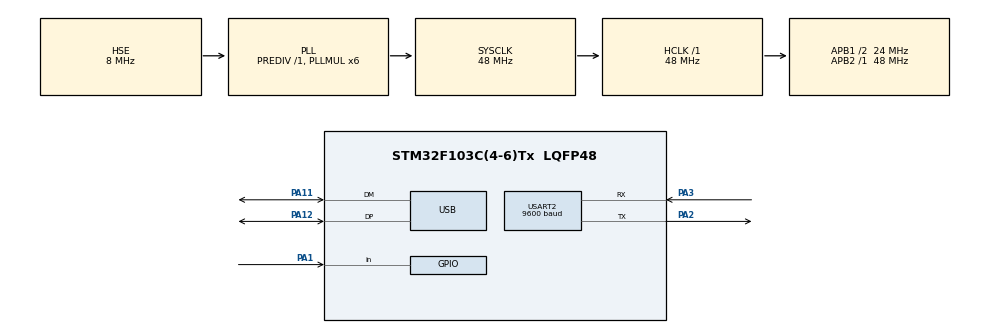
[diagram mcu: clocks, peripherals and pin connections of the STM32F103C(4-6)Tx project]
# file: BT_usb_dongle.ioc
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Mcu.Family=STM32F1
Mcu.Name=STM32F103C(4-6)Tx
Mcu.Package=LQFP48
NVIC.PriorityGroup=NVIC_PRIORITYGROUP_4
NVIC.USART2_IRQn=true\:0\:0\:false\:false\:true\:true\:true
NVIC.USB_LP_CAN1_RX0_IRQn=true\:0\:0\:false\:false\:true\:false\:true
PA1.GPIO_PuPd=GPIO_PULLDOWN
PA1.Signal=GPIO_Input
PA11.Mode=Device
PA11.Signal=USB_DM
PA12.Mode=Device
PA12.Signal=USB_DP
PA13.Mode=Serial_Wire
PA13.Signal=SYS_JTMS-SWDIO
PA14.Mode=Serial_Wire
PA14.Signal=SYS_JTCK-SWCLK
PA2.Mode=Asynchronous
PA2.Signal=USART2_TX
PA3.Mode=Asynchronous
PA3.Signal=USART2_RX
PD0-OSC_IN.Mode=HSE-External-Oscillator
PD0-OSC_IN.Signal=RCC_OSC_IN
PD1-OSC_OUT.Mode=HSE-External-Oscillator
PD1-OSC_OUT.Signal=RCC_OSC_OUT
ProjectManager.HeapSize=0x200
ProjectManager.StackSize=0x400
ProjectManager.TargetToolchain=STM32CubeIDE
RCC.AHBFreq_Value=48000000
RCC.APB1CLKDivider=RCC_HCLK_DIV2
RCC.APB1Freq_Value=24000000
RCC.APB1TimFreq_Value=48000000
RCC.APB2Freq_Value=48000000
RCC.APB2TimFreq_Value=48000000
RCC.HCLKFreq_Value=48000000
RCC.PLLMUL=RCC_PLL_MUL6
RCC.SYSCLKFreq_VALUE=48000000
RCC.SYSCLKSource=RCC_SYSCLKSOURCE_PLLCLK
RCC.USBFreq_Value=48000000
USART2.BaudRate=9600
USART2.VirtualMode=VM_ASYNC
USB_DEVICE.CLASS_NAME_FS=HID
USB_DEVICE.PRODUCT_STRING_HID_FS=STM32 BT dongle
USB_DEVICE.VirtualMode=Hid
USB_DEVICE.VirtualModeFS=Hid_FS
VP_USB_DEVICE_VS_USB_DEVICE_HID_FS.Mode=HID_FS
board=custom

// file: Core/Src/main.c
/* USER CODE BEGIN Header */
/**
  ******************************************************************************
  * @file           : main.c
  * @brief          : Main program body
  ******************************************************************************
  * @attention
  *
  * <h2><center>&copy; Copyright (c) 2022 STMicroelectronics.
  * All rights reserved.</center></h2>
  *
  * This software component is licensed by ST under BSD 3-Clause license,
  * the "License"; You may not use this file except in compliance with the
  * License. You may obtain a copy of the License at:
  *                        opensource.org/licenses/BSD-3-Clause
  *
  ******************************************************************************
  */
/* USER CODE END Header */
#include "main.h"
#include "usb_device.h"
#include "usbd_hid.h"

/* USER CODE BEGIN PD */
#define DIAG_LED_PORT	GPIOC
#define DIAG_LED_PIN	GPIO_PIN_13

#define	BT_STATE_PORT	GPIOA
#define BT_STATE_PIN	GPIO_PIN_1
/* USER CODE END PD */

/* USER CODE BEGIN PM */
struct mouse_report {
	uint8_t buttons;
	int8_t x_disp;
	int8_t y_disp;
	int8_t wheel;
};

/* USER CODE END PM */

UART_HandleTypeDef huart2;

/* USER CODE BEGIN PV */
struct mouse_report report;
/* USER CODE END PV */

void SystemClock_Config(void);
static void MX_GPIO_Init(void);
static void MX_USART2_UART_Init(void);
/* USER CODE BEGIN PFP */
extern USBD_HandleTypeDef hUsbDeviceFS;

/* USER CODE END PFP */

/* USER CODE BEGIN 0 */

static void led_init(void)
{
	GPIO_InitTypeDef GPIO_InitStruct;

	__HAL_RCC_GPIOC_CLK_ENABLE();
	HAL_GPIO_WritePin(DIAG_LED_PORT, DIAG_LED_PIN, GPIO_PIN_SET);
	GPIO_InitStruct.Pin = DIAG_LED_PIN;
	GPIO_InitStruct.Mode = GPIO_MODE_OUTPUT_PP;
	GPIO_InitStruct.Pull = GPIO_NOPULL;
	GPIO_InitStruct.Speed = GPIO_SPEED_FREQ_LOW;
	HAL_GPIO_Init(DIAG_LED_PORT, &GPIO_InitStruct);
}

static void bt_init(void)
{
	GPIO_InitTypeDef GPIO_InitStruct;

	__HAL_RCC_GPIOA_CLK_ENABLE();
	HAL_GPIO_WritePin(BT_STATE_PORT, BT_STATE_PIN, GPIO_PIN_RESET);
	GPIO_InitStruct.Pin = BT_STATE_PIN;
	GPIO_InitStruct.Mode = GPIO_MODE_INPUT;
	GPIO_InitStruct.Pull = GPIO_PULLDOWN;
	GPIO_InitStruct.Speed = GPIO_SPEED_FREQ_LOW;
	HAL_GPIO_Init(BT_STATE_PORT, &GPIO_InitStruct);
}

/* USER CODE END 0 */

int main(void)
{
  /* USER CODE BEGIN 1 */
  uint8_t *pdata;
  int deltax;
  int deltay;
  int deltaz;

  /* USER CODE END 1 */

  /* MCU Configuration--------------------------------------------------------*/

  /* Reset of all peripherals, Initializes the Flash interface and the Systick. */
  HAL_Init();

  /* USER CODE BEGIN Init */
  //AFIO_DBGAFR_CONFIG(AFIO_MAPR_SWJ_CFG_JTAGDISABLE);

  /* USER CODE END Init */

  /* Configure the system clock */
  SystemClock_Config();

  /* Initialize all configured peripherals */
  MX_GPIO_Init();
  MX_USART2_UART_Init();
  MX_USB_DEVICE_Init();
  /* USER CODE BEGIN 2 */
  bt_init();
  led_init();

  /* USER CODE END 2 */

  /* Infinite loop */
  /* USER CODE BEGIN WHILE */
  while (1)
  {
	  //uint8_t bt_data[] = "BT ready\r\n";
	  if (HAL_GPIO_ReadPin(BT_STATE_PORT, BT_STATE_PIN) == GPIO_PIN_SET)
	  {
		  HAL_Delay(2000);
		  //HAL_UART_Transmit(&huart2, bt_data, 9, HAL_MAX_DELAY);
		  break;
	  }
  }
  while(1)
  {
    /* USER CODE END WHILE */

    /* USER CODE BEGIN 3 */
	pdata = HAL_UART_Receive_gets(&huart2);
	if (pdata)
	{
#if 1
		if (sscanf((char *)pdata, "x:%d,y:%d,z:%d\r\n", &deltax, &deltay, &deltaz) == 3)
		{
			report.x_disp = deltax;
			report.y_disp = deltay;
			if (deltaz > 10)
				report.buttons = 1;
			USBD_HID_SendReport(&hUsbDeviceFS, (unsigned char *)&report, sizeof(struct mouse_report));
			if (report.buttons)
			{
				HAL_Delay(100);
				report.buttons = 0;
				USBD_HID_SendReport(&hUsbDeviceFS, (unsigned char *)&report, sizeof(struct mouse_report));
			}
		}
#endif
		HAL_UART_Free_Receive_buf(&huart2, pdata);
		HAL_GPIO_TogglePin(DIAG_LED_PORT, DIAG_LED_PIN);
	}
	//report.x_disp = 10;
	//report.y_disp = 10;--------------

  }
  /* USER CODE END 3 */
}

void SystemClock_Config(void)
{
  RCC_OscInitTypeDef RCC_OscInitStruct = {0};
  RCC_ClkInitTypeDef RCC_ClkInitStruct = {0};
  RCC_PeriphCLKInitTypeDef PeriphClkInit = {0};

  /** Initializes the RCC Oscillators according to the specified parameters
  * in the RCC_OscInitTypeDef structure.
  */
  RCC_OscInitStruct.OscillatorType = RCC_OSCILLATORTYPE_HSE;
  RCC_OscInitStruct.HSEState = RCC_HSE_ON;
  RCC_OscInitStruct.HSEPredivValue = RCC_HSE_PREDIV_DIV1;
  RCC_OscInitStruct.HSIState = RCC_HSI_ON;
  RCC_OscInitStruct.PLL.PLLState = RCC_PLL_ON;
  RCC_OscInitStruct.PLL.PLLSource = RCC_PLLSOURCE_HSE;
  RCC_OscInitStruct.PLL.PLLMUL = RCC_PLL_MUL6;
  if (HAL_RCC_OscConfig(&RCC_OscInitStruct) != HAL_OK)
  {
    Error_Handler();
  }
  /** Initializes the CPU, AHB and APB buses clocks
  */
  RCC_ClkInitStruct.ClockType = RCC_CLOCKTYPE_HCLK|RCC_CLOCKTYPE_SYSCLK
                              |RCC_CLOCKTYPE_PCLK1|RCC_CLOCKTYPE_PCLK2;
  RCC_ClkInitStruct.SYSCLKSource = RCC_SYSCLKSOURCE_PLLCLK;
  RCC_ClkInitStruct.AHBCLKDivider = RCC_SYSCLK_DIV1;
  RCC_ClkInitStruct.APB1CLKDivider = RCC_HCLK_DIV2;
  RCC_ClkInitStruct.APB2CLKDivider = RCC_HCLK_DIV1;

  if (HAL_RCC_ClockConfig(&RCC_ClkInitStruct, FLASH_LATENCY_1) != HAL_OK)
  {
    Error_Handler();
  }
  PeriphClkInit.PeriphClockSelection = RCC_PERIPHCLK_USB;
  PeriphClkInit.UsbClockSelection = RCC_USBCLKSOURCE_PLL;
  if (HAL_RCCEx_PeriphCLKConfig(&PeriphClkInit) != HAL_OK)
  {
    Error_Handler();
  }
}

static void MX_USART2_UART_Init(void)
{

  huart2.Instance = USART2;
  huart2.Init.BaudRate = 9600;
  huart2.Init.WordLength = UART_WORDLENGTH_8B;
  huart2.Init.StopBits = UART_STOPBITS_1;
  huart2.Init.Parity = UART_PARITY_NONE;
  huart2.Init.Mode = UART_MODE_TX_RX;
  huart2.Init.HwFlowCtl = UART_HWCONTROL_NONE;
  huart2.Init.OverSampling = UART_OVERSAMPLING_16;
  if (HAL_UART_Init(&huart2) != HAL_OK)
  {
    Error_Handler();
  }
  /* USER CODE BEGIN USART2_Init 2 */
  huart2.Instance->CR1 |= USART_CR1_RXNEIE;
  /* USER CODE END USART2_Init 2 */

}

static void MX_GPIO_Init(void)
{
  GPIO_InitTypeDef GPIO_InitStruct = {0};

  /* GPIO Ports Clock Enable */
  __HAL_RCC_GPIOD_CLK_ENABLE();
  __HAL_RCC_GPIOA_CLK_ENABLE();

  /*Configure GPIO pin : PA1 */
  GPIO_InitStruct.Pin = GPIO_PIN_1;
  GPIO_InitStruct.Mode = GPIO_MODE_INPUT;
  GPIO_InitStruct.Pull = GPIO_PULLDOWN;
  HAL_GPIO_Init(GPIOA, &GPIO_InitStruct);

}

void Error_Handler(void)
{
  __disable_irq();
  while (1)
  {
  }
}

/************************ (C) COPYRIGHT STMicroelectronics *****END OF FILE****/
